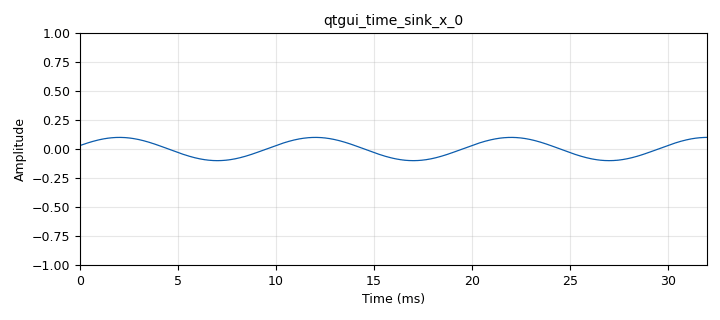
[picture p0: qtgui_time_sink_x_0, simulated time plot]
options:
  parameters:
    generate_options: qt_gui
    id: Trial_connection
    output_language: python
    title: Not titled yet
  states: {}

blocks:
- name: ampl
  id: variable
  parameters:
    value: '.1'
  states: {}
- name: freq
  id: variable
  parameters:
    value: '100'
  states: {}
- name: samp_rate
  id: variable
  parameters:
    value: '32000'
  states: {}
- name: analog_sig_source_x_0
  id: analog_sig_source_x
  parameters:
    amp: ampl
    freq: freq
    offset: '0'
    phase: '0'
    samp_rate: samp_rate
    type: float
    waveform: analog.GR_COS_WAVE
  states: {}
- name: blocks_throttle2_0
  id: blocks_throttle2
  parameters:
    samples_per_second: samp_rate
    type: float
  states: {}
- name: qtgui_time_sink_x_0
  id: qtgui_time_sink_x
  parameters:
    size: '1024'
    srate: samp_rate
    type: float
  states: {}
- name: xmlrpc_server_0
  id: xmlrpc_server
  parameters:
    addr: localhost
    port: '8081'
  states: {}

connections:
- [analog_sig_source_x_0, '0', blocks_throttle2_0, '0']
- [blocks_throttle2_0, '0', qtgui_time_sink_x_0, '0']

metadata:
  file_format: 1
  grc_version: 3.10.12.0
